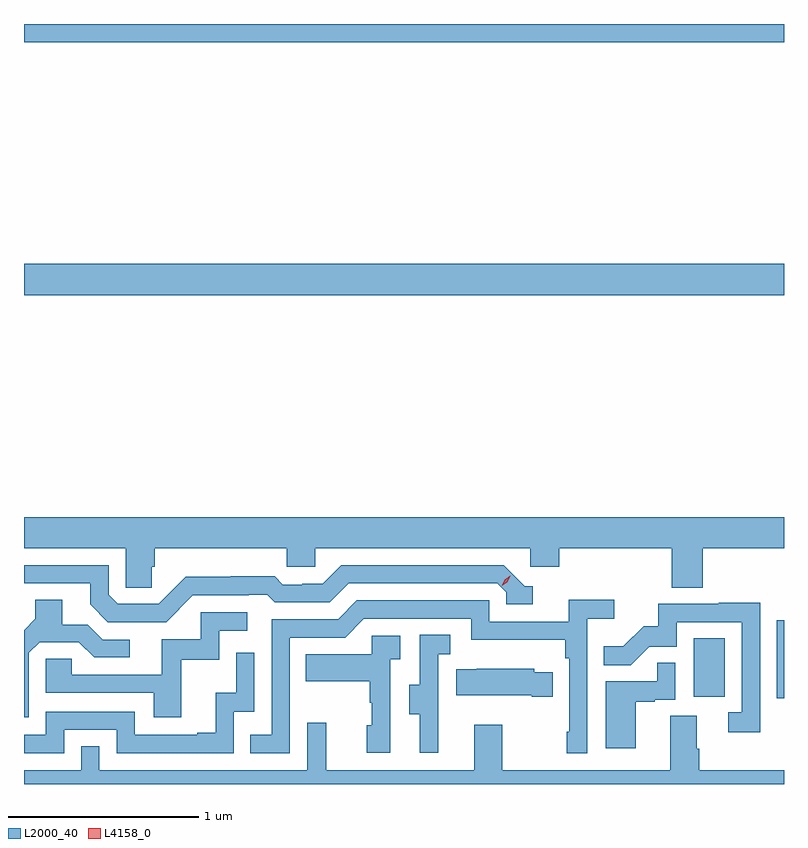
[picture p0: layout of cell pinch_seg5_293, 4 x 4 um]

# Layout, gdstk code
import gdstk
lib = gdstk.Library(unit=1e-6, precision=1e-09)
def R(c, l, rs):  # rectangles x0, y0, x1, y1
    for r in rs: c.add(gdstk.rectangle(r[:2], r[2:], *l))
def P(c, l, *ps):  # polygons
    for p in ps: c.add(gdstk.Polygon(p, *l))
L2000_40 = (2000, 40)
L4158_0 = (4158, 0)

pinch_seg5_293 = lib.new_cell('pinch_seg5_293')
R(pinch_seg5_293, L2000_40, [(906.392,891.935,906.429,892.345), (905.954,891.942,906.118,892.249), (902.429,894.056,906.429,894.22), (902.429,895.388,906.429,895.483)])
P(pinch_seg5_293, L2000_40, [(903.101,892.626),(903.116,892.626),(903.116,892.724),(903.813,892.724),(903.813,892.626),(903.963,892.626),(903.963,892.724),(905.094,892.724),(905.094,892.626),(905.246,892.626),(905.246,892.724),(905.837,892.724),(905.837,892.516),(906.002,892.516),(906.002,892.724),(906.429,892.724),(906.429,892.888),(902.429,892.888),(902.429,892.724),(902.964,892.724),(902.964,892.516),(903.101,892.516)],
  [(903.318,892.476),(903.611,892.476),(903.611,892.479),(903.71,892.479),(903.749,892.44),(904.038,892.44),(904.137,892.539),(904.92,892.539),(904.968,892.491),(904.968,892.428),(905.107,892.428),(905.107,892.524),(905.064,892.524),(904.953,892.635),(904.1,892.635),(904.001,892.536),(903.894,892.536),(903.894,892.533),(903.791,892.533),(903.749,892.576),(903.516,892.576),(903.516,892.573),(903.28,892.573),(903.138,892.431),(902.922,892.431),(902.874,892.479),(902.874,892.635),(902.429,892.635),(902.429,892.539),(902.777,892.539),(902.777,892.429),(902.871,892.335),(903.177,892.335)],
  [(903.828,892.254),(904.119,892.254),(904.218,892.353),(904.782,892.353),(904.782,892.241),(905.278,892.241),(905.278,892.145),(905.298,892.145),(905.298,891.757),(905.286,891.757),(905.286,891.645),(905.394,891.645),(905.394,892.352),(905.536,892.352),(905.536,892.454),(905.297,892.454),(905.297,892.338),(904.878,892.338),(904.878,892.449),(904.181,892.449),(904.082,892.35),(903.732,892.35),(903.732,891.741),(903.619,891.741),(903.619,891.645),(903.828,891.645)],
  [(902.454,892.173),(902.511,892.23),(902.717,892.23),(902.798,892.149),(902.986,892.149),(902.986,892.242),(902.844,892.242),(902.764,892.322),(902.629,892.322),(902.629,892.454),(902.489,892.454),(902.489,892.352),(902.429,892.292),(902.429,891.834),(902.454,891.834)],
  [(906.303,892.436),(906.085,892.436),(906.085,892.431),(905.767,892.431),(905.767,892.314),(905.69,892.314),(905.583,892.207),(905.479,892.207),(905.479,892.108),(905.623,892.108),(905.721,892.206),(905.865,892.206),(905.865,892.335),(906.207,892.335),(906.207,891.861),(906.135,891.861),(906.135,891.756),(906.303,891.756)],
  [(903.257,892.137),(903.456,892.137),(903.456,892.29),(903.604,892.29),(903.604,892.386),(903.36,892.386),(903.36,892.245),(903.155,892.245),(903.155,892.059),(902.681,892.059),(902.681,892.143),(902.544,892.143),(902.544,891.963),(903.113,891.963),(903.113,891.834),(903.257,891.834)],
  [(904.61,891.861),(904.608,891.861),(904.608,892.165),(904.672,892.165),(904.672,892.268),(904.512,892.268),(904.512,892.005),(904.457,892.005),(904.457,891.85),(904.511,891.85),(904.511,891.648),(904.61,891.648)],
  [(904.356,892.139),(904.408,892.139),(904.408,892.263),(904.26,892.263),(904.26,892.165),(903.913,892.165),(903.913,892.025),(904.248,892.025),(904.248,891.911),(904.258,891.911),(904.258,891.792),(904.232,891.792),(904.232,891.648),(904.356,891.648)],
  [(902.64,891.768),(902.916,891.768),(902.916,891.645),(903.534,891.645),(903.534,891.864),(903.642,891.864),(903.642,892.174),(903.546,892.174),(903.546,891.962),(903.437,891.962),(903.437,891.754),(903.341,891.754),(903.341,891.741),(903.012,891.741),(903.012,891.864),(902.544,891.864),(902.544,891.741),(902.429,891.741),(902.429,891.645),(902.64,891.645)],
  [(905.65,891.915),(905.75,891.915),(905.75,891.927),(905.856,891.927),(905.856,892.121),(905.761,892.121),(905.761,892.023),(905.492,892.023),(905.492,891.672),(905.65,891.672)],
  [(905.213,892.072),(905.115,892.072),(905.115,892.09),(904.813,892.09),(904.813,892.087),(904.705,892.087),(904.705,891.95),(905.102,891.95),(905.102,891.943),(905.213,891.943)],
  [(906.429,891.556),(905.984,891.556),(905.984,891.668),(905.971,891.668),(905.971,891.842),(905.831,891.842),(905.831,891.556),(904.947,891.556),(904.947,891.796),(904.799,891.796),(904.799,891.556),(904.019,891.556),(904.019,891.805),(903.921,891.805),(903.921,891.556),(902.826,891.556),(902.826,891.683),(902.73,891.683),(902.73,891.556),(902.429,891.556),(902.429,891.483),(906.429,891.483)])
P(pinch_seg5_293, L4158_0, [(904.943,892.526),(904.943,892.526),(904.958,892.559),(904.989,892.579),(904.989,892.579),(904.989,892.579),(904.973,892.546),(904.943,892.526)])

lib.write_gds('pinch_seg5_293.gds')
